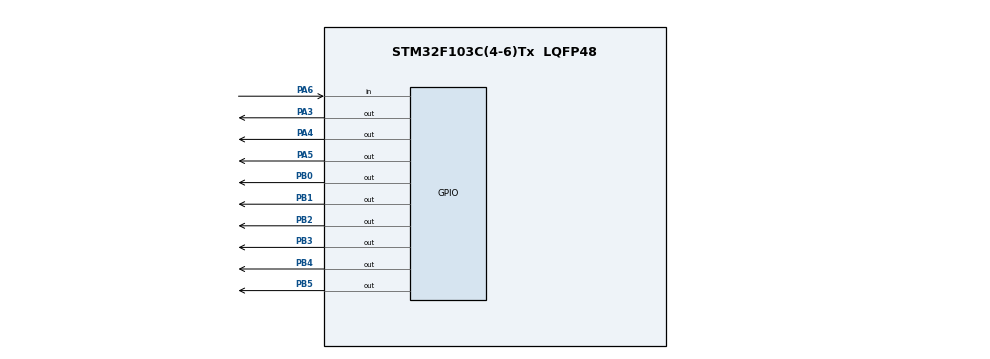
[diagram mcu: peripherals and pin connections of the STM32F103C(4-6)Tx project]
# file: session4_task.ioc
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Mcu.Family=STM32F1
Mcu.Name=STM32F103C(4-6)Tx
Mcu.Package=LQFP48
NVIC.PriorityGroup=NVIC_PRIORITYGROUP_4
PA3.Signal=GPIO_Output
PA4.Signal=GPIO_Output
PA5.Signal=GPIO_Output
PA6.GPIO_PuPd=GPIO_PULLDOWN
PA6.Signal=GPIO_Input
PB0.Signal=GPIO_Output
PB1.Signal=GPIO_Output
PB2.Signal=GPIO_Output
PB3.Signal=GPIO_Output
PB4.Signal=GPIO_Output
PB5.Signal=GPIO_Output
ProjectManager.HeapSize=0x200
ProjectManager.StackSize=0x400
ProjectManager.TargetToolchain=STM32CubeIDE
RCC.APB1Freq_Value=8000000
RCC.APB2Freq_Value=8000000
board=custom

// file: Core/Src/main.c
/* USER CODE BEGIN Header */
/**
  ******************************************************************************
  * @file           : main.c
  * @brief          : Main program body
  ******************************************************************************
  * @attention
  *
  * Copyright (c) 2025 STMicroelectronics.
  * All rights reserved.
  *
  * This software is licensed under terms that can be found in the LICENSE file
  * in the root directory of this software component.
  * If no LICENSE file comes with this software, it is provided AS-IS.
  *
  ******************************************************************************
  */
/* USER CODE END Header */
#include "main.h"

/* USER CODE BEGIN Includes */
#include "../../ECUAL/LCD16X2/LCD16X2.h"

/* USER CODE END Includes */

/* USER CODE BEGIN PD */
#define MyLCD LCD16X2_1
/* USER CODE END PD */

/* USER CODE BEGIN PV */
unsigned char running=0;
unsigned int last_press=0;
/* USER CODE END PV */

void SystemClock_Config(void);
static void MX_GPIO_Init(void);

int main(void)
{

  /* MCU Configuration--------------------------------------------------------*/

  /* Reset of all peripherals, Initializes the Flash interface and the Systick. */
  HAL_Init();

  /* Configure the system clock */
  SystemClock_Config();

  /* Initialize all configured peripherals */
  MX_GPIO_Init();
  /* USER CODE BEGIN 2 */
  GPIOA->ODR=0; //all leds off at first
  LCD16X2_Init(MyLCD);
  LCD16X2_Clear(MyLCD);
  LCD16X2_Set_Cursor(MyLCD, 1, 1);
  LCD16X2_Write_String(MyLCD, "Traffic off");
  /* USER CODE END 2 */

  /* Infinite loop */
  /* USER CODE BEGIN WHILE */
  while (1)
  {

	  if(running){
		  HAL_Delay(100);
		  if(running){

		LCD16X2_Clear(MyLCD);
		LCD16X2_Write_String(MyLCD, "Traffic running");

		GPIOA->ODR =(1<<3); //light the leds in order

		HAL_Delay(2000);

		GPIOA->ODR =(1<<4);

		HAL_Delay(2000);

		GPIOA->ODR =(1<<5);

		HAL_Delay(2000);

	  }}

    /* USER CODE END WHILE */

  }
}

void SystemClock_Config(void)
{
  RCC_OscInitTypeDef RCC_OscInitStruct = {0};
  RCC_ClkInitTypeDef RCC_ClkInitStruct = {0};

  /** Initializes the RCC Oscillators according to the specified parameters
  * in the RCC_OscInitTypeDef structure.
  */
  RCC_OscInitStruct.OscillatorType = RCC_OSCILLATORTYPE_HSI;
  RCC_OscInitStruct.HSIState = RCC_HSI_ON;
  RCC_OscInitStruct.HSICalibrationValue = RCC_HSICALIBRATION_DEFAULT;
  RCC_OscInitStruct.PLL.PLLState = RCC_PLL_NONE;
  if (HAL_RCC_OscConfig(&RCC_OscInitStruct) != HAL_OK)
  {
    Error_Handler();
  }

  /** Initializes the CPU, AHB and APB buses clocks
  */
  RCC_ClkInitStruct.ClockType = RCC_CLOCKTYPE_HCLK|RCC_CLOCKTYPE_SYSCLK
                              |RCC_CLOCKTYPE_PCLK1|RCC_CLOCKTYPE_PCLK2;
  RCC_ClkInitStruct.SYSCLKSource = RCC_SYSCLKSOURCE_HSI;
  RCC_ClkInitStruct.AHBCLKDivider = RCC_SYSCLK_DIV1;
  RCC_ClkInitStruct.APB1CLKDivider = RCC_HCLK_DIV1;
  RCC_ClkInitStruct.APB2CLKDivider = RCC_HCLK_DIV1;

  if (HAL_RCC_ClockConfig(&RCC_ClkInitStruct, FLASH_LATENCY_0) != HAL_OK)
  {
    Error_Handler();
  }
}

static void MX_GPIO_Init(void)
{
  GPIO_InitTypeDef GPIO_InitStruct = {0};

  /* GPIO Ports Clock Enable */
  __HAL_RCC_GPIOA_CLK_ENABLE();
  __HAL_RCC_GPIOB_CLK_ENABLE();
  __HAL_RCC_AFIO_CLK_ENABLE();

  /*Configure GPIO pin Output Level */
  HAL_GPIO_WritePin(GPIOA, GPIO_PIN_3|GPIO_PIN_4|GPIO_PIN_5, GPIO_PIN_RESET);

  /*Configure GPIO pin Output Level */
  HAL_GPIO_WritePin(GPIOB, GPIO_PIN_0|GPIO_PIN_1|GPIO_PIN_2|GPIO_PIN_3
                          |GPIO_PIN_4|GPIO_PIN_5, GPIO_PIN_RESET);

  /*Configure GPIO pins : PA3 PA4 PA5 */
  GPIO_InitStruct.Pin = GPIO_PIN_3|GPIO_PIN_4|GPIO_PIN_5;
  GPIO_InitStruct.Mode = GPIO_MODE_OUTPUT_PP;
  GPIO_InitStruct.Pull = GPIO_NOPULL;
  GPIO_InitStruct.Speed = GPIO_SPEED_FREQ_LOW;
  HAL_GPIO_Init(GPIOA, &GPIO_InitStruct);

  /*Configure GPIO pin : PA6 */
  GPIO_InitStruct.Pin = GPIO_PIN_6;
  GPIO_InitStruct.Mode = GPIO_MODE_IT_RISING;
  GPIO_InitStruct.Pull = GPIO_PULLDOWN;
  HAL_GPIO_Init(GPIOA, &GPIO_InitStruct);

  /*Configure GPIO pins : PB0 PB1 PB2 PB3
                           PB4 PB5 */
  GPIO_InitStruct.Pin = GPIO_PIN_0|GPIO_PIN_1|GPIO_PIN_2|GPIO_PIN_3
                          |GPIO_PIN_4|GPIO_PIN_5;
  GPIO_InitStruct.Mode = GPIO_MODE_OUTPUT_PP;
  GPIO_InitStruct.Pull = GPIO_NOPULL;
  GPIO_InitStruct.Speed = GPIO_SPEED_FREQ_LOW;
  HAL_GPIO_Init(GPIOB, &GPIO_InitStruct);

  /* USER CODE BEGIN MX_GPIO_Init_2 */
  HAL_NVIC_SetPriority(EXTI9_5_IRQn, 2, 0);
  HAL_NVIC_EnableIRQ(EXTI9_5_IRQn);
  /* USER CODE END MX_GPIO_Init_2 */
}

/* USER CODE BEGIN 4 */

void HAL_GPIO_EXTI_Callback(uint16_t GPIO_Pin)
{
  if (GPIO_Pin==GPIO_PIN_6)
   { if (HAL_GetTick()-last_press<200) return; //debounce instead of delay, if button pressed less than 200ms from reset
   last_press=HAL_GetTick();
	  running=!running;

   }

if(running==0)
  NVIC_SystemReset();

}
/* USER CODE END 4 */

void Error_Handler(void)
{
  __disable_irq();
  while (1)
  {
  }
}
